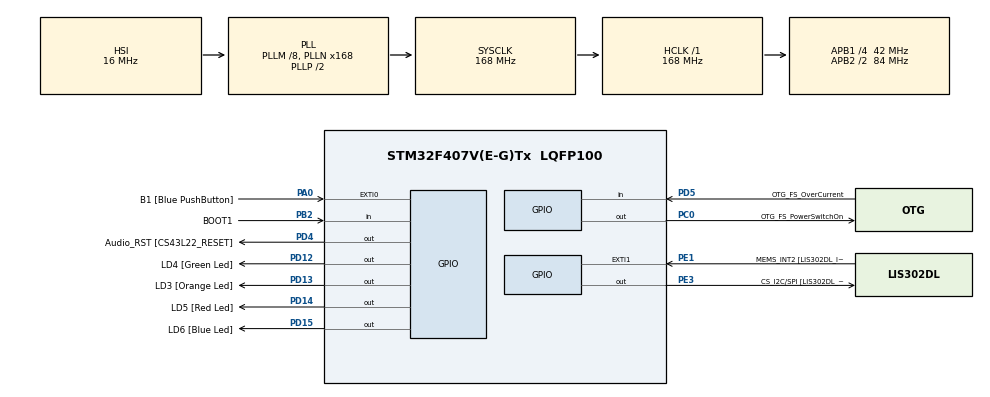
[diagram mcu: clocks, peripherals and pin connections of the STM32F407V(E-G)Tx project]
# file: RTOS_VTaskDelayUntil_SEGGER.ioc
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Mcu.Family=STM32F4
Mcu.Name=STM32F407V(E-G)Tx
Mcu.Package=LQFP100
NVIC.PriorityGroup=NVIC_PRIORITYGROUP_4
NVIC.TIM6_DAC_IRQn=true\:0\:0\:false\:false\:true\:false\:true\:true
NVIC.TimeBase=TIM6_DAC_IRQn
NVIC.TimeBaseIP=TIM6
PA0-WKUP.GPIO_Label=B1 [Blue PushButton]
PA0-WKUP.Signal=GPXTI0
PA10.GPIO_Label=OTG_FS_ID
PA10.GPIO_Mode=GPIO_MODE_AF_PP
PA10.GPIO_PuPd=GPIO_NOPULL
PA10.GPIO_Speed=GPIO_SPEED_FREQ_LOW
PA10.Signal=USB_OTG_FS_ID
PA11.GPIO_Label=OTG_FS_DM
PA11.GPIO_Mode=GPIO_MODE_AF_PP
PA11.GPIO_PuPd=GPIO_NOPULL
PA11.GPIO_Speed=GPIO_SPEED_FREQ_LOW
PA11.Signal=USB_OTG_FS_DM
PA12.GPIO_Label=OTG_FS_DP
PA12.GPIO_Mode=GPIO_MODE_AF_PP
PA12.GPIO_PuPd=GPIO_NOPULL
PA12.GPIO_Speed=GPIO_SPEED_FREQ_LOW
PA12.Signal=USB_OTG_FS_DP
PA13.GPIO_Label=SWDIO
PA13.Signal=SYS_JTMS-SWDIO
PA14.GPIO_Label=SWCLK
PA14.Signal=SYS_JTCK-SWCLK
PA4.GPIO_Label=I2S3_WS [CS43L22_LRCK]
PA4.GPIO_Mode=GPIO_MODE_AF_PP
PA4.GPIO_PuPd=GPIO_NOPULL
PA4.GPIO_Speed=GPIO_SPEED_FREQ_LOW
PA4.Signal=I2S3_WS
PA5.GPIO_Label=SPI1_SCK [LIS302DL_SCL/SPC]
PA5.GPIO_Mode=GPIO_MODE_AF_PP
PA5.GPIO_PuPd=GPIO_NOPULL
PA5.GPIO_Speed=GPIO_SPEED_FREQ_LOW
PA5.Signal=SPI1_SCK
PA6.GPIO_Label=SPI1_MISO [LIS302DL_SDO]
PA6.GPIO_Mode=GPIO_MODE_AF_PP
PA6.GPIO_PuPd=GPIO_NOPULL
PA6.GPIO_Speed=GPIO_SPEED_FREQ_LOW
PA6.Signal=SPI1_MISO
PA7.GPIO_Label=SPI1_MOSI [LIS302DL_SDA/SDI/SDO]
PA7.GPIO_Mode=GPIO_MODE_AF_PP
PA7.GPIO_PuPd=GPIO_NOPULL
PA7.GPIO_Speed=GPIO_SPEED_FREQ_LOW
PA7.Signal=SPI1_MOSI
PA9.GPIO_Label=VBUS_FS
PA9.GPIO_Mode=GPIO_MODE_INPUT
PA9.GPIO_PuPd=GPIO_NOPULL
PA9.Signal=USB_OTG_FS_VBUS
PB10.GPIO_Label=CLK_IN [MP45DT02_CLK]
PB10.GPIO_Mode=GPIO_MODE_AF_PP
PB10.GPIO_PuPd=GPIO_NOPULL
PB10.GPIO_Speed=GPIO_SPEED_FREQ_LOW
PB10.Signal=I2S2_CK
PB2.GPIO_Label=BOOT1
PB2.GPIO_Mode=GPIO_MODE_INPUT
PB2.GPIO_PuPd=GPIO_NOPULL
PB2.Signal=GPIO_Input
PB3.GPIO_Label=SWO
PB3.Signal=SYS_JTDO-SWO
PB6.GPIO_Label=Audio_SCL [CS43L22_SCL]
PB6.GPIO_Mode=GPIO_MODE_AF_OD
PB6.GPIO_PuPd=GPIO_NOPULL
PB6.GPIO_Speed=GPIO_SPEED_FREQ_LOW
PB6.Signal=I2C1_SCL
PB9.GPIO_Label=Audio_SDA [CS43L22_SDA]
PB9.GPIO_Mode=GPIO_MODE_AF_OD
PB9.GPIO_PuPd=GPIO_NOPULL
PB9.GPIO_Speed=GPIO_SPEED_FREQ_LOW
PB9.Signal=I2C1_SDA
PC0.GPIO_Label=OTG_FS_PowerSwitchOn
PC0.GPIO_PuPd=GPIO_NOPULL
PC0.GPIO_Speed=GPIO_SPEED_FREQ_LOW
PC0.PinState=GPIO_PIN_SET
PC0.Signal=GPIO_Output
PC10.GPIO_Label=I2S3_SCK [CS43L22_SCLK]
PC10.GPIO_Mode=GPIO_MODE_AF_PP
PC10.GPIO_PuPd=GPIO_NOPULL
PC10.GPIO_Speed=GPIO_SPEED_FREQ_LOW
PC10.Signal=I2S3_CK
PC12.GPIO_Label=I2S3_SD [CS43L22_SDIN]
PC12.GPIO_Mode=GPIO_MODE_AF_PP
PC12.GPIO_PuPd=GPIO_NOPULL
PC12.GPIO_Speed=GPIO_SPEED_FREQ_LOW
PC12.Signal=I2S3_SD
PC14-OSC32_IN.GPIO_Label=PC14-OSC32_IN
PC14-OSC32_IN.Signal=RCC_OSC32_IN
PC15-OSC32_OUT.GPIO_Label=PC15-OSC32_OUT
PC15-OSC32_OUT.Signal=RCC_OSC32_OUT
PC3.GPIO_Label=PDM_OUT [MP45DT02_DOUT]
PC3.GPIO_Mode=GPIO_MODE_AF_PP
PC3.GPIO_PuPd=GPIO_NOPULL
PC3.GPIO_Speed=GPIO_SPEED_FREQ_LOW
PC3.Signal=I2S2_SD
PC7.GPIO_Label=I2S3_MCK [CS43L22_MCLK]
PC7.GPIO_Mode=GPIO_MODE_AF_PP
PC7.GPIO_PuPd=GPIO_NOPULL
PC7.GPIO_Speed=GPIO_SPEED_FREQ_LOW
PC7.Signal=I2S3_MCK
PD12.GPIO_Label=LD4 [Green Led]
PD12.GPIO_PuPd=GPIO_NOPULL
PD12.GPIO_Speed=GPIO_SPEED_FREQ_LOW
PD12.Signal=GPIO_Output
PD13.GPIO_Label=LD3 [Orange Led]
PD13.GPIO_PuPd=GPIO_NOPULL
PD13.GPIO_Speed=GPIO_SPEED_FREQ_LOW
PD13.Signal=GPIO_Output
PD14.GPIO_Label=LD5 [Red Led]
PD14.GPIO_PuPd=GPIO_NOPULL
PD14.GPIO_Speed=GPIO_SPEED_FREQ_LOW
PD14.Signal=GPIO_Output
PD15.GPIO_Label=LD6 [Blue Led]
PD15.GPIO_PuPd=GPIO_NOPULL
PD15.GPIO_Speed=GPIO_SPEED_FREQ_LOW
PD15.Signal=GPIO_Output
PD4.GPIO_Label=Audio_RST [CS43L22_RESET]
PD4.GPIO_PuPd=GPIO_NOPULL
PD4.GPIO_Speed=GPIO_SPEED_FREQ_LOW
PD4.Signal=GPIO_Output
PD5.GPIO_Label=OTG_FS_OverCurrent
PD5.GPIO_Mode=GPIO_MODE_INPUT
PD5.GPIO_PuPd=GPIO_NOPULL
PD5.Signal=GPIO_Input
PE1.GPIO_Label=MEMS_INT2 [LIS302DL_INT2]
PE1.GPIO_ModeDefaultEXTI=GPIO_MODE_EVT_RISING
PE1.GPIO_PuPd=GPIO_NOPULL
PE1.Signal=GPXTI1
PE3.GPIO_Label=CS_I2C/SPI [LIS302DL_CS_I2C/SPI]
PE3.GPIO_PuPd=GPIO_NOPULL
PE3.GPIO_Speed=GPIO_SPEED_FREQ_LOW
PE3.Signal=GPIO_Output
PH0-OSC_IN.GPIO_Label=PH0-OSC_IN
PH0-OSC_IN.Signal=RCC_OSC_IN
PH1-OSC_OUT.GPIO_Label=PH1-OSC_OUT
PH1-OSC_OUT.Signal=RCC_OSC_OUT
ProjectManager.HeapSize=0x200
ProjectManager.StackSize=0x400
ProjectManager.TargetToolchain=STM32CubeIDE
RCC.48MHZClocksFreq_Value=48000000
RCC.AHBFreq_Value=168000000
RCC.APB1CLKDivider=RCC_HCLK_DIV4
RCC.APB1Freq_Value=42000000
RCC.APB1TimFreq_Value=84000000
RCC.APB2CLKDivider=RCC_HCLK_DIV2
RCC.APB2Freq_Value=84000000
RCC.APB2TimFreq_Value=168000000
RCC.CortexFreq_Value=168000000
RCC.HCLKFreq_Value=168000000
RCC.HSE_VALUE=8000000
RCC.HSI_VALUE=16000000
RCC.LSE_VALUE=32768
RCC.PLLM=8
RCC.PLLN=168
RCC.PLLQ=7
RCC.SYSCLKFreq_VALUE=168000000
RCC.SYSCLKSource=RCC_SYSCLKSOURCE_PLLCLK
RCC.VCOOutputFreq_Value=336000000
VP_SYS_VS_tim6.Mode=TIM6
board=STM32F407G-DISC1

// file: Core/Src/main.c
/* USER CODE BEGIN Header */
/**
  ******************************************************************************
  * @file           : main.c
  * @brief          : Main program body
  ******************************************************************************
  * @attention
  *
  * Copyright (c) 2025 STMicroelectronics.
  * All rights reserved.
  *
  * This software is licensed under terms that can be found in the LICENSE file
  * in the root directory of this software component.
  * If no LICENSE file comes with this software, it is provided AS-IS.
  *
  ******************************************************************************
  */
/* USER CODE END Header */
#include "main.h"

/* USER CODE BEGIN Includes */
#include "FreeRTOS.h"
#include "task.h"

/* USER CODE END Includes */

/* USER CODE BEGIN PTD */
static void led_green_handler(void *parameter);
static void led_red_handler(void *parameter);
static void led_blue_handler(void *parameter);

extern void SEGGER_UART_init(uint32_t);
/* USER CODE END PTD */

/* USER CODE BEGIN PD */
#define DWT_CTRL (*(volatile uint32_t*)0xE0001000)
/* USER CODE END PD */

void SystemClock_Config(void);
static void MX_GPIO_Init(void);

int main(void)
{

  /* USER CODE BEGIN 1 */
	TaskHandle_t task1_handle;
	TaskHandle_t task2_handle;
	TaskHandle_t task3_handle;

	BaseType_t status;

  /* USER CODE END 1 */

  /* MCU Configuration--------------------------------------------------------*/

  /* Reset of all peripherals, Initializes the Flash interface and the Systick. */
  HAL_Init();

  /* Configure the system clock */
  SystemClock_Config();

  /* Initialize all configured peripherals */
  MX_GPIO_Init();
  /* USER CODE BEGIN 2 */

  DWT_CTRL |= (1<<0);

  SEGGER_UART_init(250000);

  SEGGER_SYSVIEW_Conf();
//  SEGGER_SYSVIEW_Start();

  status = xTaskCreate(led_green_handler, "LED_green_task", 200, NULL, 2, &task1_handle);
  configASSERT(status == pdPASS);

  status = xTaskCreate(led_red_handler, "LED_red_task", 200, NULL, 2, &task2_handle);
  configASSERT(status == pdPASS);

  status = xTaskCreate(led_blue_handler, "LED_blue_task", 200, NULL, 2, &task3_handle);
  configASSERT(status == pdPASS);

  vTaskStartScheduler();
  /* USER CODE END 2 */

  /* Infinite loop */
  while (1)
  {

  }
}

void SystemClock_Config(void)
{
  RCC_OscInitTypeDef RCC_OscInitStruct = {0};
  RCC_ClkInitTypeDef RCC_ClkInitStruct = {0};

  /** Configure the main internal regulator output voltage
  */
  __HAL_RCC_PWR_CLK_ENABLE();
  __HAL_PWR_VOLTAGESCALING_CONFIG(PWR_REGULATOR_VOLTAGE_SCALE1);

  /** Initializes the RCC Oscillators according to the specified parameters
  * in the RCC_OscInitTypeDef structure.
  */
  RCC_OscInitStruct.OscillatorType = RCC_OSCILLATORTYPE_HSI;
  RCC_OscInitStruct.HSIState = RCC_HSI_ON;
  RCC_OscInitStruct.HSICalibrationValue = RCC_HSICALIBRATION_DEFAULT;
  RCC_OscInitStruct.PLL.PLLState = RCC_PLL_ON;
  RCC_OscInitStruct.PLL.PLLSource = RCC_PLLSOURCE_HSI;
  RCC_OscInitStruct.PLL.PLLM = 8;
  RCC_OscInitStruct.PLL.PLLN = 168;
  RCC_OscInitStruct.PLL.PLLP = RCC_PLLP_DIV2;
  RCC_OscInitStruct.PLL.PLLQ = 7;
  if (HAL_RCC_OscConfig(&RCC_OscInitStruct) != HAL_OK)
  {
    Error_Handler();
  }

  /** Initializes the CPU, AHB and APB buses clocks
  */
  RCC_ClkInitStruct.ClockType = RCC_CLOCKTYPE_HCLK|RCC_CLOCKTYPE_SYSCLK
                              |RCC_CLOCKTYPE_PCLK1|RCC_CLOCKTYPE_PCLK2;
  RCC_ClkInitStruct.SYSCLKSource = RCC_SYSCLKSOURCE_PLLCLK;
  RCC_ClkInitStruct.AHBCLKDivider = RCC_SYSCLK_DIV1;
  RCC_ClkInitStruct.APB1CLKDivider = RCC_HCLK_DIV4;
  RCC_ClkInitStruct.APB2CLKDivider = RCC_HCLK_DIV2;

  if (HAL_RCC_ClockConfig(&RCC_ClkInitStruct, FLASH_LATENCY_5) != HAL_OK)
  {
    Error_Handler();
  }
}

static void MX_GPIO_Init(void)
{
  GPIO_InitTypeDef GPIO_InitStruct = {0};

  /* GPIO Ports Clock Enable */
  __HAL_RCC_GPIOE_CLK_ENABLE();
  __HAL_RCC_GPIOC_CLK_ENABLE();
  __HAL_RCC_GPIOH_CLK_ENABLE();
  __HAL_RCC_GPIOA_CLK_ENABLE();
  __HAL_RCC_GPIOB_CLK_ENABLE();
  __HAL_RCC_GPIOD_CLK_ENABLE();

  /*Configure GPIO pin Output Level */
  HAL_GPIO_WritePin(CS_I2C_SPI_GPIO_Port, CS_I2C_SPI_Pin, GPIO_PIN_RESET);

  /*Configure GPIO pin Output Level */
  HAL_GPIO_WritePin(OTG_FS_PowerSwitchOn_GPIO_Port, OTG_FS_PowerSwitchOn_Pin, GPIO_PIN_SET);

  /*Configure GPIO pin Output Level */
  HAL_GPIO_WritePin(GPIOD, LD4_Pin|LD3_Pin|LD5_Pin|LD6_Pin
                          |Audio_RST_Pin, GPIO_PIN_RESET);

  /*Configure GPIO pin : CS_I2C_SPI_Pin */
  GPIO_InitStruct.Pin = CS_I2C_SPI_Pin;
  GPIO_InitStruct.Mode = GPIO_MODE_OUTPUT_PP;
  GPIO_InitStruct.Pull = GPIO_NOPULL;
  GPIO_InitStruct.Speed = GPIO_SPEED_FREQ_LOW;
  HAL_GPIO_Init(CS_I2C_SPI_GPIO_Port, &GPIO_InitStruct);

  /*Configure GPIO pin : OTG_FS_PowerSwitchOn_Pin */
  GPIO_InitStruct.Pin = OTG_FS_PowerSwitchOn_Pin;
  GPIO_InitStruct.Mode = GPIO_MODE_OUTPUT_PP;
  GPIO_InitStruct.Pull = GPIO_NOPULL;
  GPIO_InitStruct.Speed = GPIO_SPEED_FREQ_LOW;
  HAL_GPIO_Init(OTG_FS_PowerSwitchOn_GPIO_Port, &GPIO_InitStruct);

  /*Configure GPIO pin : PDM_OUT_Pin */
  GPIO_InitStruct.Pin = PDM_OUT_Pin;
  GPIO_InitStruct.Mode = GPIO_MODE_AF_PP;
  GPIO_InitStruct.Pull = GPIO_NOPULL;
  GPIO_InitStruct.Speed = GPIO_SPEED_FREQ_LOW;
  GPIO_InitStruct.Alternate = GPIO_AF5_SPI2;
  HAL_GPIO_Init(PDM_OUT_GPIO_Port, &GPIO_InitStruct);

  /*Configure GPIO pin : B1_Pin */
  GPIO_InitStruct.Pin = B1_Pin;
  GPIO_InitStruct.Mode = GPIO_MODE_IT_RISING;
  GPIO_InitStruct.Pull = GPIO_NOPULL;
  HAL_GPIO_Init(B1_GPIO_Port, &GPIO_InitStruct);

  /*Configure GPIO pin : I2S3_WS_Pin */
  GPIO_InitStruct.Pin = I2S3_WS_Pin;
  GPIO_InitStruct.Mode = GPIO_MODE_AF_PP;
  GPIO_InitStruct.Pull = GPIO_NOPULL;
  GPIO_InitStruct.Speed = GPIO_SPEED_FREQ_LOW;
  GPIO_InitStruct.Alternate = GPIO_AF6_SPI3;
  HAL_GPIO_Init(I2S3_WS_GPIO_Port, &GPIO_InitStruct);

  /*Configure GPIO pins : SPI1_SCK_Pin SPI1_MISO_Pin SPI1_MOSI_Pin */
  GPIO_InitStruct.Pin = SPI1_SCK_Pin|SPI1_MISO_Pin|SPI1_MOSI_Pin;
  GPIO_InitStruct.Mode = GPIO_MODE_AF_PP;
  GPIO_InitStruct.Pull = GPIO_NOPULL;
  GPIO_InitStruct.Speed = GPIO_SPEED_FREQ_LOW;
  GPIO_InitStruct.Alternate = GPIO_AF5_SPI1;
  HAL_GPIO_Init(GPIOA, &GPIO_InitStruct);

  /*Configure GPIO pin : BOOT1_Pin */
  GPIO_InitStruct.Pin = BOOT1_Pin;
  GPIO_InitStruct.Mode = GPIO_MODE_INPUT;
  GPIO_InitStruct.Pull = GPIO_NOPULL;
  HAL_GPIO_Init(BOOT1_GPIO_Port, &GPIO_InitStruct);

  /*Configure GPIO pin : CLK_IN_Pin */
  GPIO_InitStruct.Pin = CLK_IN_Pin;
  GPIO_InitStruct.Mode = GPIO_MODE_AF_PP;
  GPIO_InitStruct.Pull = GPIO_NOPULL;
  GPIO_InitStruct.Speed = GPIO_SPEED_FREQ_LOW;
  GPIO_InitStruct.Alternate = GPIO_AF5_SPI2;
  HAL_GPIO_Init(CLK_IN_GPIO_Port, &GPIO_InitStruct);

  /*Configure GPIO pins : LD4_Pin LD3_Pin LD5_Pin LD6_Pin
                           Audio_RST_Pin */
  GPIO_InitStruct.Pin = LD4_Pin|LD3_Pin|LD5_Pin|LD6_Pin
                          |Audio_RST_Pin;
  GPIO_InitStruct.Mode = GPIO_MODE_OUTPUT_PP;
  GPIO_InitStruct.Pull = GPIO_NOPULL;
  GPIO_InitStruct.Speed = GPIO_SPEED_FREQ_LOW;
  HAL_GPIO_Init(GPIOD, &GPIO_InitStruct);

  /*Configure GPIO pins : I2S3_MCK_Pin I2S3_SCK_Pin I2S3_SD_Pin */
  GPIO_InitStruct.Pin = I2S3_MCK_Pin|I2S3_SCK_Pin|I2S3_SD_Pin;
  GPIO_InitStruct.Mode = GPIO_MODE_AF_PP;
  GPIO_InitStruct.Pull = GPIO_NOPULL;
  GPIO_InitStruct.Speed = GPIO_SPEED_FREQ_LOW;
  GPIO_InitStruct.Alternate = GPIO_AF6_SPI3;
  HAL_GPIO_Init(GPIOC, &GPIO_InitStruct);

  /*Configure GPIO pin : VBUS_FS_Pin */
  GPIO_InitStruct.Pin = VBUS_FS_Pin;
  GPIO_InitStruct.Mode = GPIO_MODE_INPUT;
  GPIO_InitStruct.Pull = GPIO_NOPULL;
  HAL_GPIO_Init(VBUS_FS_GPIO_Port, &GPIO_InitStruct);

  /*Configure GPIO pins : OTG_FS_ID_Pin OTG_FS_DM_Pin OTG_FS_DP_Pin */
  GPIO_InitStruct.Pin = OTG_FS_ID_Pin|OTG_FS_DM_Pin|OTG_FS_DP_Pin;
  GPIO_InitStruct.Mode = GPIO_MODE_AF_PP;
  GPIO_InitStruct.Pull = GPIO_NOPULL;
  GPIO_InitStruct.Speed = GPIO_SPEED_FREQ_LOW;
  GPIO_InitStruct.Alternate = GPIO_AF10_OTG_FS;
  HAL_GPIO_Init(GPIOA, &GPIO_InitStruct);

  /*Configure GPIO pin : OTG_FS_OverCurrent_Pin */
  GPIO_InitStruct.Pin = OTG_FS_OverCurrent_Pin;
  GPIO_InitStruct.Mode = GPIO_MODE_INPUT;
  GPIO_InitStruct.Pull = GPIO_NOPULL;
  HAL_GPIO_Init(OTG_FS_OverCurrent_GPIO_Port, &GPIO_InitStruct);

  /*Configure GPIO pins : Audio_SCL_Pin Audio_SDA_Pin */
  GPIO_InitStruct.Pin = Audio_SCL_Pin|Audio_SDA_Pin;
  GPIO_InitStruct.Mode = GPIO_MODE_AF_OD;
  GPIO_InitStruct.Pull = GPIO_NOPULL;
  GPIO_InitStruct.Speed = GPIO_SPEED_FREQ_LOW;
  GPIO_InitStruct.Alternate = GPIO_AF4_I2C1;
  HAL_GPIO_Init(GPIOB, &GPIO_InitStruct);

  /*Configure GPIO pin : MEMS_INT2_Pin */
  GPIO_InitStruct.Pin = MEMS_INT2_Pin;
  GPIO_InitStruct.Mode = GPIO_MODE_EVT_RISING;
  GPIO_InitStruct.Pull = GPIO_NOPULL;
  HAL_GPIO_Init(MEMS_INT2_GPIO_Port, &GPIO_InitStruct);

}

/* USER CODE BEGIN 4 */

static void led_green_handler(void *parameter)
{
	TickType_t xLastwaketime;
	xLastwaketime  = xTaskGetTickCount();
	while(1)
	{
		SEGGER_SYSVIEW_PrintfTarget("Led_Green_Toggling");
		HAL_GPIO_TogglePin(GPIOD, LED_GREEN_PIN);
//		HAL_Delay(1000);
		vTaskDelayUntil(&xLastwaketime,pdMS_TO_TICKS(1000));
	}
}

static void led_red_handler(void *parameter)
{
	TickType_t xLastwaketime;
	xLastwaketime  = xTaskGetTickCount();
	while(1)
	{
		SEGGER_SYSVIEW_PrintfTarget("Led_Red_Toggling");
		HAL_GPIO_TogglePin(GPIOD, LED_RED_PIN);
//		HAL_Delay(1000);
		vTaskDelayUntil(&xLastwaketime,pdMS_TO_TICKS(1000));
	}
}

static void led_blue_handler(void *parameter)
{
	TickType_t xLastwaketime;
	xLastwaketime  = xTaskGetTickCount();
	while(1)
	{
		SEGGER_SYSVIEW_PrintfTarget("Led_blue_Toggling");
		HAL_GPIO_TogglePin(GPIOD, LED_BLUE_PIN);
//		HAL_Delay(1000);
		vTaskDelayUntil(&xLastwaketime,pdMS_TO_TICKS(1000));
	}
}
/* USER CODE END 4 */

void HAL_TIM_PeriodElapsedCallback(TIM_HandleTypeDef *htim)
{
  if (htim->Instance == TIM6) {
    HAL_IncTick();
  }
}

void Error_Handler(void)
{
  __disable_irq();
  while (1)
  {
  }
}
